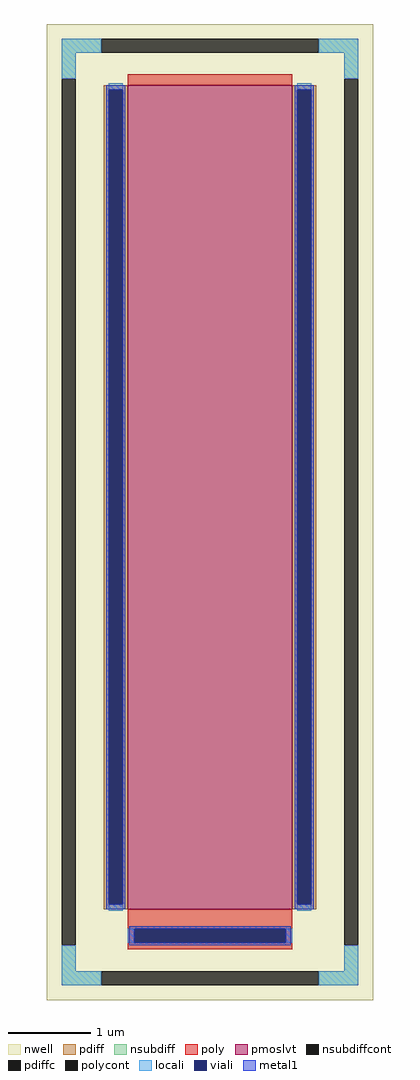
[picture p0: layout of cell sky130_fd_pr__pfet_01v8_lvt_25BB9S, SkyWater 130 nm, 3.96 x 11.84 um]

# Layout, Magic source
magic
tech sky130A
magscale 1 2
<< nwell >>
rect -396 -1184 396 1184
<< pmoslvt >>
rect -200 -964 200 1036
<< pdiff >>
rect -258 1024 -200 1036
rect -258 -952 -246 1024
rect -212 -952 -200 1024
rect -258 -964 -200 -952
rect 200 1024 258 1036
rect 200 -952 212 1024
rect 246 -952 258 1024
rect 200 -964 258 -952
<< pdiffc >>
rect -246 -952 -212 1024
rect 212 -952 246 1024
<< nsubdiff >>
rect -360 1114 -264 1148
rect 264 1114 360 1148
rect -360 1051 -326 1114
rect 326 1051 360 1114
rect -360 -1114 -326 -1051
rect 326 -1114 360 -1051
rect -360 -1148 -264 -1114
rect 264 -1148 360 -1114
<< nsubdiffcont >>
rect -264 1114 264 1148
rect -360 -1051 -326 1051
rect 326 -1051 360 1051
rect -264 -1148 264 -1114
<< poly >>
rect -200 1036 200 1062
rect -200 -1011 200 -964
rect -200 -1045 -184 -1011
rect 184 -1045 200 -1011
rect -200 -1061 200 -1045
<< polycont >>
rect -184 -1045 184 -1011
<< locali >>
rect -360 1114 -264 1148
rect 264 1114 360 1148
rect -360 1051 -326 1114
rect 326 1051 360 1114
rect -246 1024 -212 1040
rect -246 -968 -212 -952
rect 212 1024 246 1040
rect 212 -968 246 -952
rect -200 -1045 -184 -1011
rect 184 -1045 200 -1011
rect -360 -1114 -326 -1051
rect 326 -1114 360 -1051
rect -360 -1148 -264 -1114
rect 264 -1148 360 -1114
<< viali >>
rect -246 -952 -212 1024
rect 212 -952 246 1024
rect -184 -1045 184 -1011
<< metal1 >>
rect -252 1024 -206 1036
rect -252 -952 -246 1024
rect -212 -952 -206 1024
rect -252 -964 -206 -952
rect 206 1024 252 1036
rect 206 -952 212 1024
rect 246 -952 252 1024
rect 206 -964 252 -952
rect -196 -1011 196 -1005
rect -196 -1045 -184 -1011
rect 184 -1045 196 -1011
rect -196 -1051 196 -1045
<< properties >>
string FIXED_BBOX -343 -1131 343 1131
string gencell sky130_fd_pr__pfet_01v8_lvt
string library sky130
string parameters w 10.0 l 2 m 1 nf 1 diffcov 100 polycov 100 guard 1 glc 1 grc 1 gtc 1 gbc 1 tbcov 100 rlcov 100 topc 0 botc 1 poverlap 0 doverlap 1 lmin 0.35 wmin 0.42 compatible {sky130_fd_pr__pfet_01v8  sky130_fd_pr__pfet_01v8_lvt sky130_fd_pr__pfet_01v8_hvt  sky130_fd_pr__pfet_g5v0d10v5} full_metal 1 viasrc 100 viadrn 100 viagate 100 viagb 0 viagr 0 viagl 0 viagt 0
<< end >>
